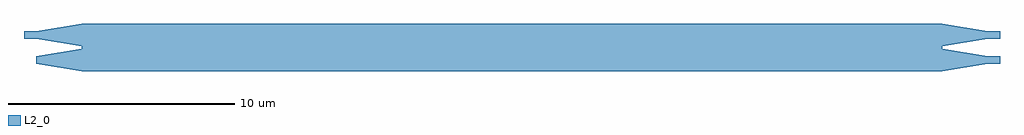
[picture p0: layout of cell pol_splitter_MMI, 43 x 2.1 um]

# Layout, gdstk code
import gdstk
lib = gdstk.Library(unit=1e-6, precision=1e-10)
def R(c, l, rs):  # rectangles x0, y0, x1, y1
    for r in rs: c.add(gdstk.rectangle(r[:2], r[2:], *l))
def P(c, l, *ps):  # polygons
    for p in ps: c.add(gdstk.Polygon(p, *l))
L2_0 = (2, 0)

pol_splitter_mmi = lib.new_cell('pol_splitter_MMI')
R(pol_splitter_mmi, L2_0, [(-18.95,-1.05,18.95,1.05), (20.855,-0.725,21.355,-0.375), (21,-0.725,21.5,-0.375), (-21.5,0.375,-21,0.725), (-21.375,0.375,-20.875,0.725), (20.855,0.375,21.355,0.725), (21,0.375,21.5,0.725)])
P(pol_splitter_mmi, L2_0, [(-18.95,-1.05),(-20.95,-0.725),(-20.95,-0.375),(-18.95,-0.05)],
  [(-18.95,0.05),(-20.95,0.375),(-20.95,0.725),(-18.95,1.05)],
  [(18.95,-1.05),(18.95,-0.05),(20.95,-0.375),(20.95,-0.725)],
  [(18.95,0.05),(18.95,1.05),(20.95,0.725),(20.95,0.375)])

lib.write_gds('pol_splitter_MMI.gds')
